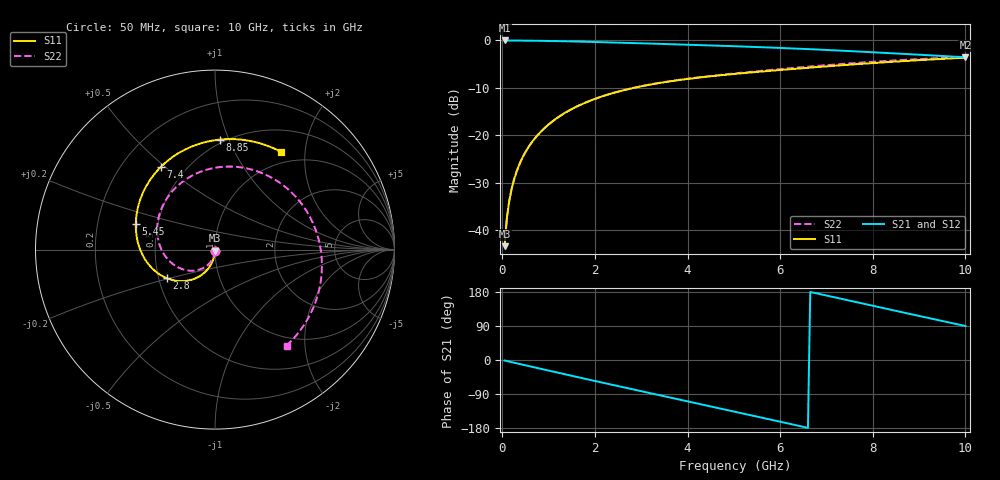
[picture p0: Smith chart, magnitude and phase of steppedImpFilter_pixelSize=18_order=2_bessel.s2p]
! freq	dB(S11)	phase(S11)	dB(S12)	phase(S12)
!  dB(S21)	phase(S21)	dB(S22)	phase(S22)
!S-par simulation data
#  GHz  S  DB  R 50
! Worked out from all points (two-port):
!   200 points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, 50 MHz to 10 GHz, reference 50 ohm
!   highest |S21| = 0.00 dB at 50 MHz (marker M1); lowest = -3.5 dB at 10 GHz (marker M2)
!   |S21| within 3 dB of the highest: start of sweep to 8.986 GHz
!   lowest |S11| = -43.4 dB at 50 MHz (marker M3), VSWR 1.01, Z = 50 - j0.677 ohm
!   |S11| at or under -10 dB: start of sweep to 2.841 GHz
!   |S22| runs from -43.4 to -3.5 dB; largest |S21 - S12| = 0
!   S11 on the Smith chart (normalised r, x): 50 MHz: 1.00, -0.01; 2.8 GHz: 0.55, -0.19; 5.45 GHz: 0.37, +0.13; 7.4 GHz: 0.37, +0.48; 8.85 GHz: 0.47, +0.93; 10 GHz: 0.82, +1.57
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0.05  -43.39 -91.1  -0.00 -1.4  -0.00 -1.4  -43.40 -91.7
0.1  -37.38 -92.4  -0.00 -2.8  -0.00 -2.8  -37.38 -93.6
0.15  -33.87 -93.6  -0.01 -4.2  -0.01 -4.2  -33.87 -95.5
0.2  -31.39 -94.8  -0.01 -5.6  -0.01 -5.6  -31.39 -97.3
0.35  -26.59 -98.3  -0.02 -9.8  -0.02 -9.8  -26.58 -102.6
0.5  -23.54 -101.7  -0.04 -14.0  -0.04 -14.0  -23.54 -107.8
0.7  -20.70 -106.1  -0.06 -19.6  -0.06 -19.6  -20.70 -114.6
1  -17.72 -112.7  -0.11 -27.9  -0.11 -27.9  -17.73 -124.8
1.75  -13.30 -128.5  -0.26 -48.6  -0.26 -48.6  -13.30 -150.4
2.3  -11.36 -139.7  -0.40 -63.5  -0.40 -63.5  -11.34 -169.3
2.8  -10.09 -149.5  -0.54 -76.9  -0.54 -76.9  -10.07 173.4
3.4  -8.96 -160.8  -0.72 -93.0  -0.72 -93.0  -8.93 152.4
4.2  -7.89 -175.3  -0.96 -114.4  -0.96 -114.4  -7.82 123.9
5.05  -7.03 169.5  -1.23 -137.2  -1.23 -137.2  -6.91 93.2
5.45  -6.68 162.2  -1.37 -147.9  -1.37 -147.9  -6.53 78.8
6.1  -6.15 150.1  -1.62 -165.5  -1.62 -165.5  -5.95 56.0
6.7  -5.69 138.1  -1.87 178.2  -1.87 178.2  -5.45 35.7
7.4  -5.18 123.1  -2.19 159.3  -2.19 159.3  -4.92 13.5
8.35  -4.55 100.5  -2.67 133.7  -2.67 133.7  -4.29 -13.7
8.85  -4.24 87.6  -2.93 120.3  -2.93 120.3  -4.01 -26.6
9.45  -3.91 71.3  -3.25 104.3  -3.25 104.3  -3.73 -41.0
10  -3.64 55.8  -3.55 89.7  -3.55 89.7  -3.51 -53.2
